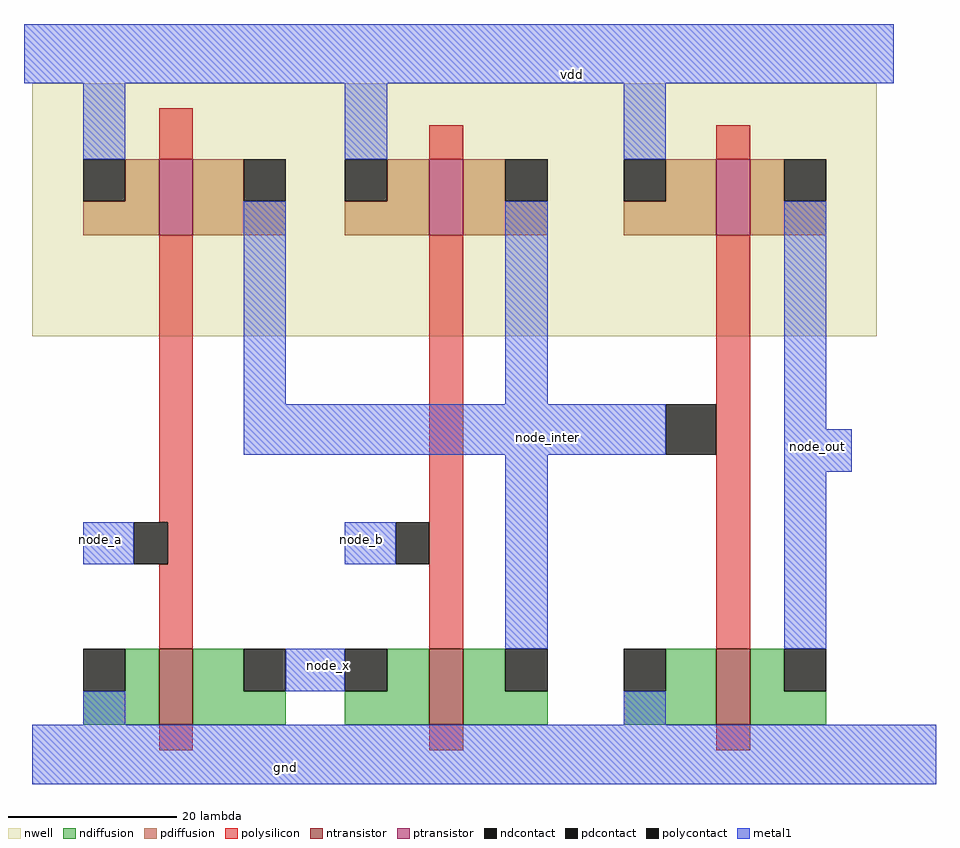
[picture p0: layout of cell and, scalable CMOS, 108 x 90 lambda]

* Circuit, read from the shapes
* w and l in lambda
.subckt and gnd node_a node_b node_inter node_out node_x vdd
M1 node_x node_a gnd VSUBS nfet w=9 l=4
M2 node_inter node_b node_x VSUBS nfet w=9 l=4
M3 node_out node_inter gnd VSUBS nfet w=9 l=4
M4 node_inter node_a vdd n1 pfet w=9 l=4
M5 node_inter node_b vdd n1 pfet w=9 l=4
M6 node_out node_inter vdd n1 pfet w=9 l=4
.ends

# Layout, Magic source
magic
tech scmos
<< nwell >>
rect -497 396 -397 426
<< ntransistor >>
rect -482 350 -478 359
rect -450 350 -446 359
rect -416 350 -412 359
<< ptransistor >>
rect -482 408 -478 417
rect -450 408 -446 417
rect -416 408 -412 417
<< ndiffusion >>
rect -486 354 -482 359
rect -491 350 -482 354
rect -478 354 -472 359
rect -478 350 -467 354
rect -455 354 -450 359
rect -460 350 -450 354
rect -446 354 -441 359
rect -446 350 -436 354
rect -422 354 -416 359
rect -427 350 -416 354
rect -412 354 -408 359
rect -412 350 -403 354
<< pdiffusion >>
rect -486 412 -482 417
rect -491 408 -482 412
rect -478 412 -472 417
rect -478 408 -467 412
rect -455 412 -450 417
rect -460 408 -450 412
rect -446 412 -441 417
rect -446 408 -436 412
rect -422 412 -416 417
rect -427 408 -416 412
rect -412 412 -408 417
rect -412 408 -403 412
<< ndcontact >>
rect -491 354 -486 359
rect -472 354 -467 359
rect -460 354 -455 359
rect -441 354 -436 359
rect -427 354 -422 359
rect -408 354 -403 359
<< pdcontact >>
rect -491 412 -486 417
rect -472 412 -467 417
rect -460 412 -455 417
rect -441 412 -436 417
rect -427 412 -422 417
rect -408 412 -403 417
<< polysilicon >>
rect -482 417 -478 423
rect -450 417 -446 421
rect -416 417 -412 421
rect -482 374 -478 408
rect -481 369 -478 374
rect -482 359 -478 369
rect -450 359 -446 408
rect -416 359 -412 408
rect -482 347 -478 350
rect -450 347 -446 350
rect -416 347 -412 350
<< polycontact >>
rect -485 369 -481 374
rect -454 369 -450 374
rect -422 382 -416 388
<< metal1 >>
rect -498 426 -395 433
rect -491 417 -486 426
rect -460 417 -455 426
rect -427 417 -422 426
rect -472 388 -467 412
rect -441 388 -436 412
rect -472 382 -422 388
rect -408 385 -403 412
rect -491 369 -485 374
rect -460 369 -454 374
rect -441 359 -436 382
rect -408 380 -400 385
rect -408 359 -403 380
rect -467 354 -460 359
rect -491 350 -486 354
rect -427 350 -422 354
rect -497 343 -390 350
<< labels >>
rlabel metal1 -433 427 -433 427 1 vdd
rlabel metal1 -489 372 -489 372 1 node_a
rlabel metal1 -458 372 -458 372 1 node_b
rlabel metal1 -467 345 -467 345 1 gnd
rlabel metal1 -462 357 -462 357 1 node_x
rlabel metal1 -436 384 -436 384 1 node_inter
rlabel metal1 -404 383 -404 383 1 node_out
<< end >>
